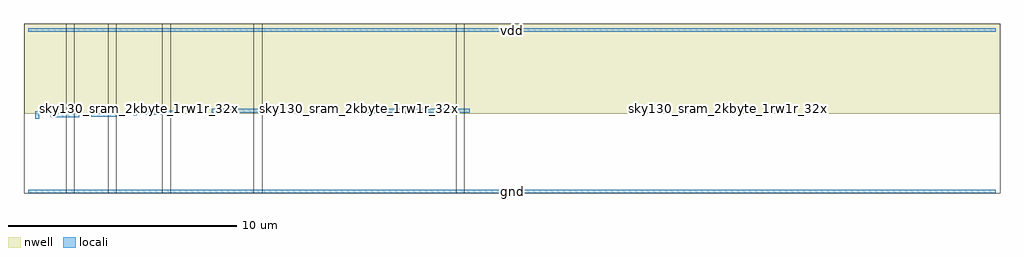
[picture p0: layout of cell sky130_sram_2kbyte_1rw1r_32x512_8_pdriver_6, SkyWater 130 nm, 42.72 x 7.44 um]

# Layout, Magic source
magic
tech sky130A
magscale 1 2
<< nwell >>
rect -36 679 8508 1471
<< locali >>
rect 0 1397 8472 1431
rect 64 636 98 702
rect 196 652 449 686
rect 547 653 817 687
rect 919 674 1293 708
rect 1609 690 2093 724
rect 2860 690 3865 724
rect 6125 690 6159 724
rect 919 670 953 674
rect 0 -17 8472 17
use sky130_sram_2kbyte_1rw1r_32x512_8_pinv_20  sky130_sram_2kbyte_1rw1r_32x512_8_pinv_20_0
transform 1 0 3784 0 1 0
box -36 -17 4724 1471
use sky130_sram_2kbyte_1rw1r_32x512_8_pinv_19  sky130_sram_2kbyte_1rw1r_32x512_8_pinv_19_0
transform 1 0 2012 0 1 0
box -36 -17 1808 1471
use sky130_sram_2kbyte_1rw1r_32x512_8_pinv_18  sky130_sram_2kbyte_1rw1r_32x512_8_pinv_18_0
transform 1 0 1212 0 1 0
box -36 -17 836 1471
use sky130_sram_2kbyte_1rw1r_32x512_8_pinv_7  sky130_sram_2kbyte_1rw1r_32x512_8_pinv_7_0
transform 1 0 736 0 1 0
box -36 -17 512 1471
use sky130_sram_2kbyte_1rw1r_32x512_8_pinv_0  sky130_sram_2kbyte_1rw1r_32x512_8_pinv_0_0
transform 1 0 368 0 1 0
box -36 -17 404 1471
use sky130_sram_2kbyte_1rw1r_32x512_8_pinv_0  sky130_sram_2kbyte_1rw1r_32x512_8_pinv_0_1
transform 1 0 0 0 1 0
box -36 -17 404 1471
<< labels >>
rlabel locali s 6142 707 6142 707 4 Z
port 1 nsew
rlabel locali s 81 669 81 669 4 A
port 2 nsew
rlabel locali s 4236 0 4236 0 4 gnd
port 3 nsew
rlabel locali s 4236 1414 4236 1414 4 vdd
port 4 nsew
<< properties >>
string FIXED_BBOX 0 0 8472 1414
string GDS_FILE $PDKPATH/libs.ref/sky130_sram_macros/gds/sky130_sram_2kbyte_1rw1r_32x512_8.gds
string GDS_END 10923926
string GDS_START 10922036
<< end >>
